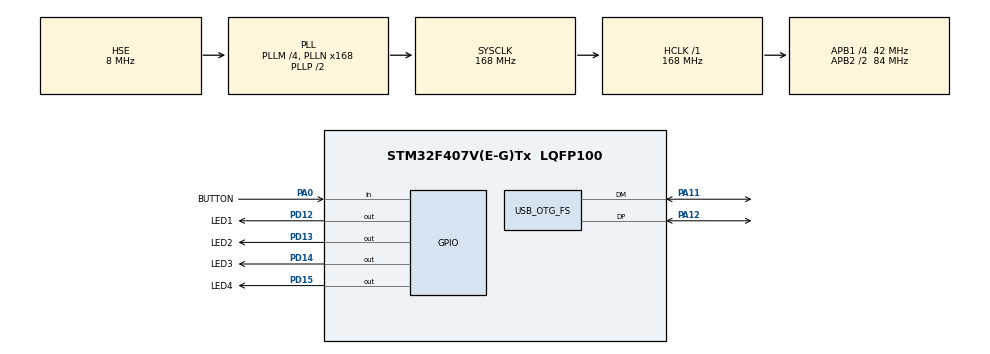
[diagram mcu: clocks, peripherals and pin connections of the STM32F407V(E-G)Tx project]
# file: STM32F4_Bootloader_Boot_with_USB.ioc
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Mcu.Family=STM32F4
Mcu.Name=STM32F407V(E-G)Tx
Mcu.Package=LQFP100
NVIC.OTG_FS_IRQn=true\:0\:0\:false\:false\:true\:false\:true\:true
NVIC.PriorityGroup=NVIC_PRIORITYGROUP_4
PA0-WKUP.GPIO_Label=BUTTON
PA0-WKUP.Signal=GPIO_Input
PA11.Mode=Device_Only
PA11.Signal=USB_OTG_FS_DM
PA12.Mode=Device_Only
PA12.Signal=USB_OTG_FS_DP
PA13.Mode=Serial_Wire
PA13.Signal=SYS_JTMS-SWDIO
PA14.Mode=Serial_Wire
PA14.Signal=SYS_JTCK-SWCLK
PD12.GPIO_Label=LED1
PD12.Signal=GPIO_Output
PD13.GPIO_Label=LED2
PD13.Signal=GPIO_Output
PD14.GPIO_Label=LED3
PD14.Signal=GPIO_Output
PD15.GPIO_Label=LED4
PD15.Signal=GPIO_Output
PH0-OSC_IN.Mode=HSE-External-Oscillator
PH0-OSC_IN.Signal=RCC_OSC_IN
PH1-OSC_OUT.Mode=HSE-External-Oscillator
PH1-OSC_OUT.Signal=RCC_OSC_OUT
ProjectManager.HeapSize=0x200
ProjectManager.StackSize=0x400
ProjectManager.TargetToolchain=STM32CubeIDE
RCC.48MHZClocksFreq_Value=48000000
RCC.AHBFreq_Value=168000000
RCC.APB1CLKDivider=RCC_HCLK_DIV4
RCC.APB1Freq_Value=42000000
RCC.APB1TimFreq_Value=84000000
RCC.APB2CLKDivider=RCC_HCLK_DIV2
RCC.APB2Freq_Value=84000000
RCC.APB2TimFreq_Value=168000000
RCC.CortexFreq_Value=168000000
RCC.EnbaleCSS=true
RCC.HCLKFreq_Value=168000000
RCC.HSE_VALUE=8000000
RCC.HSI_VALUE=16000000
RCC.LSE_VALUE=32768
RCC.PLLM=4
RCC.PLLN=168
RCC.PLLQ=7
RCC.SYSCLKFreq_VALUE=168000000
RCC.SYSCLKSource=RCC_SYSCLKSOURCE_PLLCLK
RCC.VCOOutputFreq_Value=336000000
USB_DEVICE.CLASS_NAME_FS=CDC
USB_DEVICE.VirtualMode-CDC_FS=Cdc
USB_DEVICE.VirtualModeFS=Cdc_FS
USB_OTG_FS.VirtualMode=Device_Only
VP_USB_DEVICE_VS_USB_DEVICE_CDC_FS.Mode=CDC_FS
board=custom

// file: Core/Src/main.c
/* USER CODE BEGIN Header */
/**
 ******************************************************************************
 * @file           : main.c
 * @brief          : Main program body
 ******************************************************************************
 * @attention
 *
 * Copyright (c) 2024 STMicroelectronics.
 * All rights reserved.
 *
 * This software is licensed under terms that can be found in the LICENSE file
 * in the root directory of this software component.
 * If no LICENSE file comes with this software, it is provided AS-IS.
 *
 ******************************************************************************
 */
/* USER CODE END Header */
#include <boot.h>
#include "main.h"
#include "usb_device.h"

/* USER CODE BEGIN Includes */
#include "usb_handler.h"
#include "usbd_cdc_if.h"
#include "data_process.h"
/* USER CODE END Includes */

/* USER CODE BEGIN PV */
int looptick_boot = 0;
int looptick_comm_status = 0;
int looptick_com_status_counter = 0;
/* USER CODE END PV */

void SystemClock_Config(void);
static void MX_GPIO_Init(void);

int main(void) {

    /* MCU Configuration--------------------------------------------------------*/

    /* Reset of all peripherals, Initializes the Flash interface and the Systick. */
    HAL_Init();

    /* Configure the system clock */
    SystemClock_Config();

    /* Initialize all configured peripherals */
    MX_GPIO_Init();
    MX_USB_DEVICE_Init();
    /* USER CODE BEGIN 2 */
    address_selection();
    /* USER CODE END 2 */

    /* Infinite loop */
    /* USER CODE BEGIN WHILE */
    while (1) {

        if(HAL_GetTick() >= looptick_com_status_counter + 1) // performs communication check every 1 ms
        {
            looptick_com_status_counter = HAL_GetTick();
            status_control();

        }
        if(HAL_GetTick() >= looptick_comm_status + 50)
        {
            looptick_comm_status = HAL_GetTick();
            if(m_device.comm_state.status == COMM_OFFLINE)
            {
                HAL_GPIO_TogglePin(LED4_GPIO_Port, LED4_Pin); // If no data communication occurs for 1000 ms, toggles LED every 50ms
            }
            else
            {
                HAL_GPIO_WritePin(LED4_GPIO_Port, LED4_Pin, GPIO_PIN_RESET); // If communication exists, LED4 is turned off.
            }
        }

        if (m_device.message_state == MESSAGE_OK) // message arrived, check for errors!
                {
            if (m_device.last_error == BL_OK) { // Mesaj onaylanmış ise işlemlere devam et
                uint8_t err = process_data();
                if (err != BL_OK) {    // If there is an error in the processed message or during processing, send the error message.
                    m_device.last_error = err;
                    handle_error(m_device.last_error); // send the error message
                } else {
                    response_message(); // No error, message processed, echo back to master with command type 0x03 for verification.
                }
            } else {                    // If the message structure is not confirmed, send the error code.
                handle_error(m_device.last_error);
                // error messages will be published!
            }
            m_device.message_state = WAIT_FOR_MESSAGE; // message processed or error code returned, wait for new message!
        }

        if (HAL_GetTick() >= looptick_boot + 500) {
            looptick_boot = HAL_GetTick();
            HAL_GPIO_TogglePin(LED1_GPIO_Port, LED1_Pin);
        }

        /* USER CODE END WHILE */

    }
}

void SystemClock_Config(void) {
    RCC_OscInitTypeDef RCC_OscInitStruct = { 0 };
    RCC_ClkInitTypeDef RCC_ClkInitStruct = { 0 };

    /** Configure the main internal regulator output voltage
     */
    __HAL_RCC_PWR_CLK_ENABLE();
    __HAL_PWR_VOLTAGESCALING_CONFIG(PWR_REGULATOR_VOLTAGE_SCALE1);

    /** Initializes the RCC Oscillators according to the specified parameters
     * in the RCC_OscInitTypeDef structure.
     */
    RCC_OscInitStruct.OscillatorType = RCC_OSCILLATORTYPE_HSE;
    RCC_OscInitStruct.HSEState = RCC_HSE_ON;
    RCC_OscInitStruct.PLL.PLLState = RCC_PLL_ON;
    RCC_OscInitStruct.PLL.PLLSource = RCC_PLLSOURCE_HSE;
    RCC_OscInitStruct.PLL.PLLM = 4;
    RCC_OscInitStruct.PLL.PLLN = 168;
    RCC_OscInitStruct.PLL.PLLP = RCC_PLLP_DIV2;
    RCC_OscInitStruct.PLL.PLLQ = 7;
    if (HAL_RCC_OscConfig(&RCC_OscInitStruct) != HAL_OK) {
        Error_Handler();
    }

    /** Initializes the CPU, AHB and APB buses clocks
     */
    RCC_ClkInitStruct.ClockType = RCC_CLOCKTYPE_HCLK | RCC_CLOCKTYPE_SYSCLK | RCC_CLOCKTYPE_PCLK1 | RCC_CLOCKTYPE_PCLK2;
    RCC_ClkInitStruct.SYSCLKSource = RCC_SYSCLKSOURCE_PLLCLK;
    RCC_ClkInitStruct.AHBCLKDivider = RCC_SYSCLK_DIV1;
    RCC_ClkInitStruct.APB1CLKDivider = RCC_HCLK_DIV4;
    RCC_ClkInitStruct.APB2CLKDivider = RCC_HCLK_DIV2;

    if (HAL_RCC_ClockConfig(&RCC_ClkInitStruct, FLASH_LATENCY_5) != HAL_OK) {
        Error_Handler();
    }

    /** Enables the Clock Security System
     */
    HAL_RCC_EnableCSS();
}

static void MX_GPIO_Init(void) {
    GPIO_InitTypeDef GPIO_InitStruct = { 0 };

    /* GPIO Ports Clock Enable */
    __HAL_RCC_GPIOH_CLK_ENABLE();
    __HAL_RCC_GPIOA_CLK_ENABLE();
    __HAL_RCC_GPIOD_CLK_ENABLE();

    /*Configure GPIO pin Output Level */
    HAL_GPIO_WritePin(GPIOD, LED1_Pin | LED2_Pin | LED3_Pin | LED4_Pin, GPIO_PIN_RESET);

    /*Configure GPIO pin : BUTTON_Pin */
    GPIO_InitStruct.Pin = BUTTON_Pin;
    GPIO_InitStruct.Mode = GPIO_MODE_INPUT;
    GPIO_InitStruct.Pull = GPIO_NOPULL;
    HAL_GPIO_Init(BUTTON_GPIO_Port, &GPIO_InitStruct);

    /*Configure GPIO pins : LED1_Pin LED2_Pin LED3_Pin LED4_Pin */
    GPIO_InitStruct.Pin = LED1_Pin | LED2_Pin | LED3_Pin | LED4_Pin;
    GPIO_InitStruct.Mode = GPIO_MODE_OUTPUT_PP;
    GPIO_InitStruct.Pull = GPIO_NOPULL;
    GPIO_InitStruct.Speed = GPIO_SPEED_FREQ_LOW;
    HAL_GPIO_Init(GPIOD, &GPIO_InitStruct);

}

void Error_Handler(void) {
    __disable_irq();
    while (1) {
    }
}
